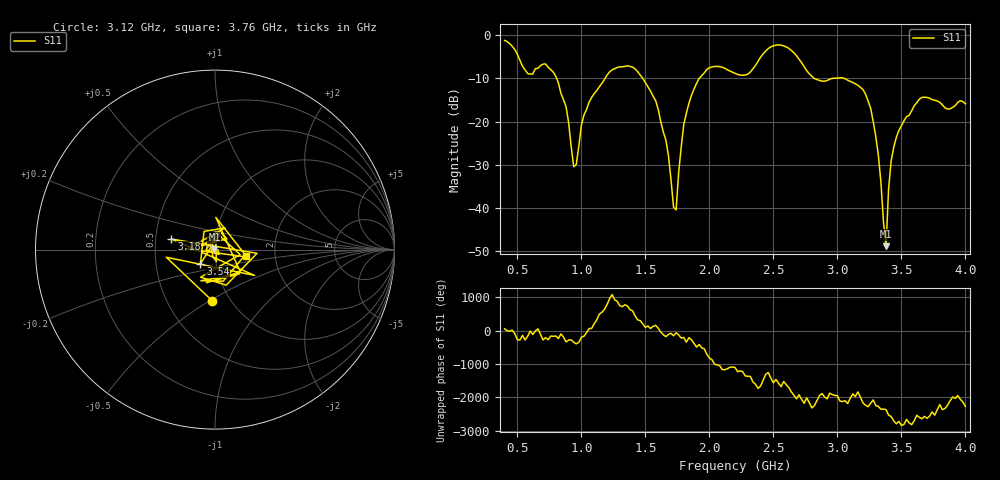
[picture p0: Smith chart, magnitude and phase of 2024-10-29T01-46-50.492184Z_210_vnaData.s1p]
!Created with skrf (http://scikit-rf.org).
# Hz S RI R 50.0
!freq ReS11 ImS11
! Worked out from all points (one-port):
!   181 points, 400 MHz to 4 GHz, reference 50 ohm
!   lowest |S11| = -48.9 dB at 3.38 GHz (marker M1), VSWR 1.01, Z = 49.7 + j0.147 ohm
!   |S11| at or under -10 dB: 806.6 MHz to 1.185 GHz (378.1 MHz wide, 38 % of centre); 1.48 GHz to 1.919 GHz (439.3 MHz wide, 25.8 % of centre); 3.054 GHz to end of sweep (the widest 3 of 4)
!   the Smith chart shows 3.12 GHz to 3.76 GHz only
!   S11 on the Smith chart (normalised r, x): 3.12 GHz: 0.82, -0.51; 3.18 GHz: 0.61, +0.08; 3.54 GHz: 0.84, -0.14; 3.76 GHz: 1.41, -0.10
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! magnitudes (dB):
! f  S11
! 400 MHz  -1.2
! 580 MHz  -8.9
! 720 MHz  -6.6
! 860 MHz  -14.9
! 940 MHz  -30.4
! 1.06 GHz  -15.5
! 1.3 GHz  -7.3
! 1.58 GHz  -15.1
! 1.66 GHz  -24.3
! 1.72 GHz  -39.8
! 1.74 GHz  -40.4
! 1.76 GHz  -31.7
! 1.8 GHz  -20.6
! 1.92 GHz  -10.0
! 2.2 GHz  -8.8
! 2.66 GHz  -4.1
! 2.82 GHz  -10.0
! 3.1 GHz  -10.7
! 3.12 GHz  -10.9
! 3.18 GHz  -12.1
! 3.3 GHz  -23.5
! 3.38 GHz  -48.9
! 3.4 GHz  -35.6
! 3.42 GHz  -29.1
! 3.54 GHz  -18.9
! 3.56 GHz  -18.5
! 3.76 GHz  -15.0
! 4 GHz  -15.9
